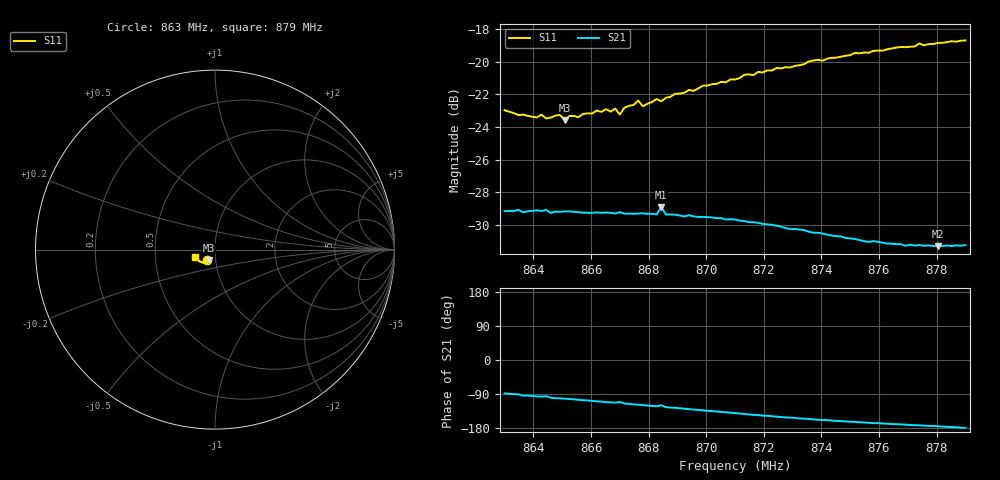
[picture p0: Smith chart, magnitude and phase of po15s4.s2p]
# HZ S RI R 50
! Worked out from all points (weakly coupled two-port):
!   101 points, 863 MHz to 879 MHz, reference 50 ohm
!   highest |S21| = -28.91 dB at 868.44 MHz (marker M1); lowest = -31.3 dB at 878.04 MHz (marker M2)
!   lowest |S11| = -23.6 dB at 865.08 MHz (marker M3), VSWR 1.14, Z = 46.4 - j5.33 ohm
!   |S11| at or under -10 dB: start of sweep to end of sweep
!   S12 and S22 are empty: the file has one direction only
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8.63e8  -0.0448 -0.0552  0.00117 -0.0348  0 0  0 0
8.6348e8  -0.0434 -0.0531  -0.000344 -0.0351  0 0  0 0
8.6412e8  -0.0398 -0.0545  -0.00385 -0.0348  0 0  0 0
8.6428e8  -0.0387 -0.057  -0.004 -0.0346  0 0  0 0
8.6444e8  -0.0366 -0.0562  -0.00332 -0.035  0 0  0 0
8.6492e8  -0.0385 -0.0569  -0.00657 -0.034  0 0  0 0
8.6508e8  -0.0338 -0.0571  -0.00721 -0.034  0 0  0 0
8.6572e8  -0.0363 -0.0589  -0.0095 -0.0331  0 0  0 0
8.6684e8  -0.0365 -0.0619  -0.0132 -0.0316  0 0  0 0
8.67e8  -0.0326 -0.0607  -0.0122 -0.0323  0 0  0 0
8.6716e8  -0.0356 -0.063  -0.0144 -0.031  0 0  0 0
8.6764e8  -0.0379 -0.066  -0.016 -0.0303  0 0  0 0
8.678e8  -0.0366 -0.0632  -0.0167 -0.03  0 0  0 0
8.6828e8  -0.0369 -0.0674  -0.0181 -0.0288  0 0  0 0
8.6844e8  -0.0321 -0.0685  -0.0176 -0.0312  0 0  0 0
8.686e8  -0.0382 -0.0676  -0.0192 -0.028  0 0  0 0
8.71e8  -0.0498 -0.0729  -0.0251 -0.0211  0 0  0 0
8.7132e8  -0.0527 -0.0745  -0.0257 -0.0199  0 0  0 0
8.7372e8  -0.07 -0.0728  -0.0275 -0.0118  0 0  0 0
8.7644e8  -0.0917 -0.0605  -0.0272 -0.00531  0 0  0 0
8.7804e8  -0.1041 -0.0472  -0.0271 -0.00236  0 0  0 0
8.79e8  -0.1097 -0.0386  -0.0274 -0.000481  0 0  0 0
